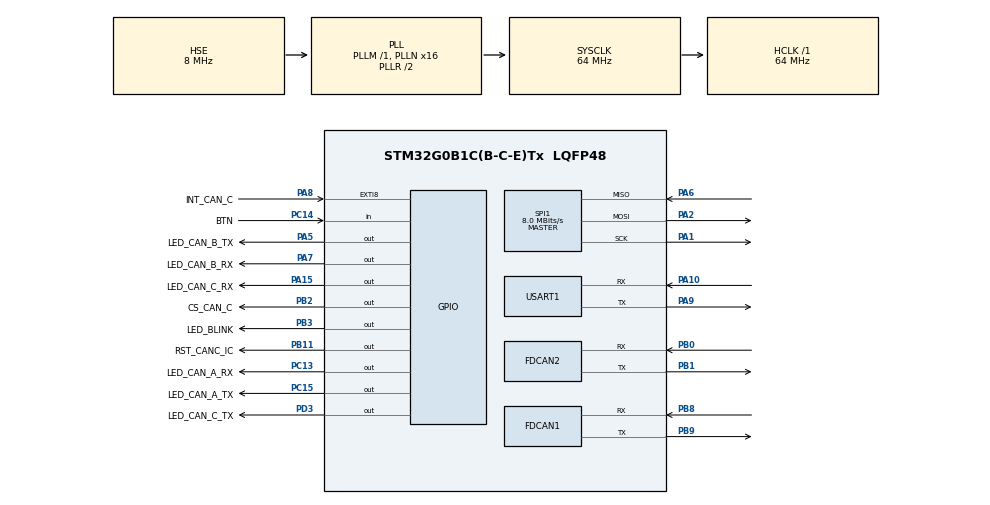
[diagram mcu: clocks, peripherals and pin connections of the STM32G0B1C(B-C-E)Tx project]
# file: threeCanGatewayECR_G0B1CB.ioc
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FDCAN1.CalculateBaudRateNominal=500000
FDCAN1.CalculateTimeBitNominal=2000
FDCAN1.CalculateTimeQuantumNominal=62.5
FDCAN1.ClockDivider=FDCAN_CLOCK_DIV1
FDCAN1.DataSyncJumpWidth=4
FDCAN1.DataTimeSeg1=27
FDCAN1.DataTimeSeg2=4
FDCAN1.NominalPrescaler=1
FDCAN1.NominalSyncJumpWidth=4
FDCAN1.NominalTimeSeg1=27
FDCAN1.NominalTimeSeg2=4
FDCAN2.CalculateBaudRateNominal=500000
FDCAN2.CalculateTimeBitNominal=2000
FDCAN2.CalculateTimeQuantumNominal=62.5
FDCAN2.DataPrescaler=1
FDCAN2.DataSyncJumpWidth=4
FDCAN2.DataTimeSeg1=27
FDCAN2.DataTimeSeg2=2
FDCAN2.NominalPrescaler=1
FDCAN2.NominalSyncJumpWidth=4
FDCAN2.NominalTimeSeg1=27
FDCAN2.NominalTimeSeg2=4
Mcu.Family=STM32G0
Mcu.Name=STM32G0B1C(B-C-E)Tx
Mcu.Package=LQFP48
NVIC.EXTI4_15_IRQn=true\:0\:0\:false\:false\:true\:true\:true\:true
NVIC.TIM16_FDCAN_IT0_IRQn=true\:0\:0\:false\:false\:true\:true\:true\:true
NVIC.TIM17_FDCAN_IT1_IRQn=true\:0\:0\:false\:false\:true\:true\:true\:true
PA1.Mode=Full_Duplex_Master
PA1.Signal=SPI1_SCK
PA10.Mode=Asynchronous
PA10.Signal=USART1_RX
PA13.Mode=Serial_Wire
PA13.Signal=SYS_SWDIO
PA14-BOOT0.Mode=Serial_Wire
PA14-BOOT0.Signal=SYS_SWCLK
PA15.GPIO_Label=LED_CAN_C_RX
PA15.PinState=GPIO_PIN_SET
PA15.Signal=GPIO_Output
PA2.Mode=Full_Duplex_Master
PA2.Signal=SPI1_MOSI
PA5.GPIO_Label=LED_CAN_B_TX
PA5.PinState=GPIO_PIN_SET
PA5.Signal=GPIO_Output
PA6.Mode=Full_Duplex_Master
PA6.Signal=SPI1_MISO
PA7.GPIO_Label=LED_CAN_B_RX
PA7.PinState=GPIO_PIN_SET
PA7.Signal=GPIO_Output
PA8.GPIO_Label=INT_CAN_C
PA8.GPIO_ModeDefaultEXTI=GPIO_MODE_IT_FALLING
PA8.Signal=GPXTI8
PA9.Mode=Asynchronous
PA9.Signal=USART1_TX
PB0.Mode=FDCAN_Activate
PB0.Signal=FDCAN2_RX
PB1.Mode=FDCAN_Activate
PB1.Signal=FDCAN2_TX
PB11.GPIO_Label=RST_CANC_IC
PB11.PinState=GPIO_PIN_SET
PB11.Signal=GPIO_Output
PB2.GPIO_Label=CS_CAN_C
PB2.PinState=GPIO_PIN_SET
PB2.Signal=GPIO_Output
PB3.GPIO_Label=LED_BLINK
PB3.PinState=GPIO_PIN_SET
PB3.Signal=GPIO_Output
PB8.Mode=FDCAN_Activate
PB8.Signal=FDCAN1_RX
PB9.Mode=FDCAN_Activate
PB9.Signal=FDCAN1_TX
PC13.GPIO_Label=LED_CAN_A_RX
PC13.PinState=GPIO_PIN_SET
PC13.Signal=GPIO_Output
PC14-OSC32_IN\ (PC14).GPIO_Label=BTN
PC14-OSC32_IN\ (PC14).Signal=GPIO_Input
PC15-OSC32_OUT\ (PC15).GPIO_Label=LED_CAN_A_TX
PC15-OSC32_OUT\ (PC15).PinState=GPIO_PIN_SET
PC15-OSC32_OUT\ (PC15).Signal=GPIO_Output
PD3.GPIO_Label=LED_CAN_C_TX
PD3.PinState=GPIO_PIN_SET
PD3.Signal=GPIO_Output
PF0-OSC_IN\ (PF0).Mode=HSE-External-Oscillator
PF0-OSC_IN\ (PF0).Signal=RCC_OSC_IN
PF1-OSC_OUT\ (PF1).Mode=HSE-External-Oscillator
PF1-OSC_OUT\ (PF1).Signal=RCC_OSC_OUT
ProjectManager.HeapSize=0x200
ProjectManager.StackSize=0x400
ProjectManager.TargetToolchain=STM32CubeIDE
RCC.ADCFreq_Value=64000000
RCC.AHBFreq_Value=64000000
RCC.CortexFreq_Value=64000000
RCC.EXTERNAL_CLOCK_VALUE=48000
RCC.FDCANCLockSelection=RCC_FDCANCLKSOURCE_PLL
RCC.HCLKFreq_Value=64000000
RCC.HSE_VALUE=8000000
RCC.HSI48_VALUE=48000000
RCC.HSI_VALUE=16000000
RCC.LSE_VALUE=32768
RCC.PLLN=16
RCC.PLLQ=RCC_PLLQ_DIV8
RCC.PLLSourceVirtual=RCC_PLLSOURCE_HSE
RCC.SYSCLKFreq_VALUE=64000000
RCC.SYSCLKSource=RCC_SYSCLKSOURCE_PLLCLK
RCC.USBFreq_Value=48000000
RCC.VCOOutputFreq_Value=128000000
SPI1.BaudRatePrescaler=SPI_BAUDRATEPRESCALER_8
SPI1.CalculateBaudRate=8.0 MBits/s
SPI1.Direction=SPI_DIRECTION_2LINES
SPI1.Mode=SPI_MODE_MASTER
SPI1.VirtualType=VM_MASTER
USART1.VirtualMode-Asynchronous=VM_ASYNC
board=custom

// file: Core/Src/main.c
/* USER CODE BEGIN Header */
/**
  ******************************************************************************
  * @file           : main.c
  * @brief          : Main program body
  ******************************************************************************
  * @attention
  *
  * Copyright (c) 2023 STMicroelectronics.
  * All rights reserved.
  *
  * This software is licensed under terms that can be found in the LICENSE file
  * in the root directory of this software component.
  * If no LICENSE file comes with this software, it is provided AS-IS.
  *
  ******************************************************************************
  */
/* USER CODE END Header */
#include "main.h"

/* USER CODE BEGIN Includes */
#include "debug.h"
#include "torkTypes.h"
#include "basicApp.h"
#include "mcp2515_hardware.h"
#include "mcp2515_drv.h"
#include "string.h"
#include "stdbool.h"
#include "canMsgRingBuf.h"
/* USER CODE END Includes */

FDCAN_HandleTypeDef hfdcan1;
FDCAN_HandleTypeDef hfdcan2;

SPI_HandleTypeDef hspi1;

UART_HandleTypeDef huart1;

/* USER CODE BEGIN PV */
/*****************************************************************************************************************************************/
// for led blink
uint32_t period_of_led_blink = _1_SECOND;
uint32_t last_time = 0;
/*****************************************************************************************************************************************/

/*****************************************************************************************************************************************/
// for CanA comm
FDCAN_TxHeaderTypeDef txHeader_A;  //CAN Bus Receive Header
FDCAN_RxHeaderTypeDef rxHeader_A;  //CAN Bus Receive Header
uint8_t bufRx_A[8] ={ 0, 0, 0, 0, 0, 0, 0, 0 };  //CAN Bus Receive Buffer

// for CanB comm
FDCAN_TxHeaderTypeDef txHeader_B;  //CAN Bus Receive Header
FDCAN_RxHeaderTypeDef rxHeader_B;  //CAN Bus Receive Header
uint8_t bufRx_B[8] ={ 0, 0, 0, 0, 0, 0, 0, 0 };  //CAN Bus Receive Buffer
/*****************************************************************************************************************************************/

/***************************************************************************************************/
torkCanMsg tempCanMsg_A;    //canA Rx den alınan mesajları Ringbuffera atmak icin kullanılır
torkCanMsg tempCanMsg_B;    //canB Rx den alınan mesajları Ringbuffera atmak icin kullanılır
torkCanMsg tempCanMsg_C;    //canC Rx den alınan mesajları Ringbuffera atmak icin kullanılır

torkCanMsg tempCanMsgTx;

uint8_t result     = 0;    //canC rx de
uint8_t result_One = 0;    //route1 poplamada kullanıldı
uint8_t result_Two = 0;    //route2 poplamada kullanıldı
/***************************************************************************************************/

/***************************************************************************************************/
// for CanC comm
volatile uint8_t isCAN_C_RXed = 0;
extern CanbusConfig_t cfgCanC;   //spi2
/***************************************************************************************************/

/***************************************************************************************************/
extern Can_Route_Values_t routeOne;
extern Can_Route_Values_t routeTwo;
/***************************************************************************************************/

/***************************************************************************************************/
// for debug
char failMsg[] = "CAN_FAIL\n"; //
char okMsg[]   = "CAN_OK\n";
/***************************************************************************************************/

/* USER CODE END PV */

void SystemClock_Config(void);
static void MX_GPIO_Init(void);
static void MX_USART1_UART_Init(void);
static void MX_SPI1_Init(void);
static void MX_FDCAN1_Init(void);
static void MX_FDCAN2_Init(void);
/* USER CODE BEGIN PFP */
void heartBeat();
void isPressedBtn();
/* USER CODE END PFP */

int main(void)
{

  /* MCU Configuration--------------------------------------------------------*/

  /* Reset of all peripherals, Initializes the Flash interface and the Systick. */
  HAL_Init();

  /* Configure the system clock */
  SystemClock_Config();

  /* Initialize all configured peripherals */
  MX_GPIO_Init();
  MX_USART1_UART_Init();
  MX_SPI1_Init();
  MX_FDCAN1_Init();
  MX_FDCAN2_Init();
  /* USER CODE BEGIN 2 */

  Init_Basic_App();

  tempCanMsg_B.FrameType           = FDCAN_DATA_FRAME;
  /* USER CODE END 2 */

  /* Infinite loop */
  /* USER CODE BEGIN WHILE */
  while (1)
  {
	  /*
	   *
	   * routeOne :  canA ------|------> canB
	   * 			 canC ------|
	   *
	   * canA ve canC'ye veri geldiginde route1'e koy    (stage1)
	   * route1 de veri varsa canB'den gönder            (stage2)
	   */

	  /*
	   *
	   * routeTwo :  canB -------|------> canA
	   * 						 |------> canC
	   *
	   * canB veri geldiginde route2'e koy               (stage1)
	   * route2 de veri varsa canA ve can C'den gönder   (stage2)
	   */

		/*****************************************************************************************************************************************/
		/*                                                       STAGE 1 IRQ KONTROLU BASLA                                                      */
		/*****************************************************************************************************************************************/

		/**********************************************************************************/
		/*CAN A ve CAN C PORTUNA VERI GELDI MI         "CALLBACK ICERISINDE"              */
		/**********************************************************************************/

		/**********************************************************************************/
		/*CAN C PORTUNA VERI GELDI MI                                                     */
		/**********************************************************************************/
		if (isCAN_C_RXed == 1)
		{
			isCAN_C_RXed = 0;
			HAL_GPIO_WritePin(LED_CAN_C_RX_GPIO_Port , LED_CAN_C_RX_Pin, GPIO_PIN_SET);

			while (CAN_MSGAVAIL == checkReceive(&cfgCanC))
			{
				uint8_t length;
				result = readMsgBuf(&cfgCanC, &length, tempCanMsg_C.Payload);
				if (result == CAN_OK)
				{
					tempCanMsg_C.DataLength    = Convert_Can_Length_For_StmLib(length);
					tempCanMsg_C.Identifier    = cfgCanC.can_id;
					cfgCanC.rtr    ?  (tempCanMsg_C.FrameType = FDCAN_REMOTE_FRAME) : (tempCanMsg_C.FrameType = FDCAN_DATA_FRAME);
					cfgCanC.ext_flg ? (tempCanMsg_C.IdType = FDCAN_EXTENDED_ID)     : (tempCanMsg_C.IdType = FDCAN_STANDARD_ID);

					debugPrint("RX, ->canC  ->route1\n");
					canMsgRingBufferPush(&routeOne.Route_Ring_Buf, tempCanMsg_C);

				}
				else
				{
					debugPrintf(failMsg);
				}
			}
		}
		/*****************************************************************************************************************************************/
		/*                                                       STAGE 1 IRQ KONTROLU  SON                                                       */
		/*****************************************************************************************************************************************/

		/*****************************************************************************************************************************************/
		/*                                                       STAGE 2 DATA ISLEM    BASLA                                                     */
		/*****************************************************************************************************************************************/

		result_One = canMsgRingBufferPop(&routeOne.Route_Ring_Buf, &tempCanMsgTx);

		while (result_One == CAN_OK)
		{
			_Bool compResult = Compare_Is_Incoming_Message_Different_From_Previous_Message(tempCanMsgTx, routeOne.Last_Sent_Message);
			routeOne.Last_Sent_Message = tempCanMsgTx;

//			_Bool compResult = Compare_Is_Incoming_Message_Different_From_Previous_Two_Message(canMsgTx, routeOne.Penultimate_Sent_Message, routeOne.Last_Sent_Message);
//			routeOne.Penultimate_Sent_Message = routeOne.Last_Sent_Message;
//			routeOne.Last_Sent_Message = canMsgTx;

			if (compResult)
			{
				debugPrint("TX, route1-> canB->\n");

				txHeader_B.TxFrameType  = tempCanMsgTx.FrameType;
				txHeader_B.DataLength   = tempCanMsgTx.DataLength;

				if(tempCanMsgTx.IdType == FDCAN_STANDARD_ID)
				{
					txHeader_B.IdType     = FDCAN_EXTENDED_ID;
					txHeader_B.Identifier = ((tempCanMsgTx.Identifier << 18) + tempCanMsgTx.Payload[0]);          // Shift the 11-bit identifier to the left by 18 bits to make it a 29-bit identifier
				}
				else
				{
					txHeader_B.IdType     = FDCAN_EXTENDED_ID;
					txHeader_B.Identifier = tempCanMsgTx.Identifier;
				}

				HAL_FDCAN_AddMessageToTxFifoQ(&hfdcan2, &txHeader_B, tempCanMsgTx.Payload);  //canB den gönder

			}

			result_One = canMsgRingBufferPop(&routeOne.Route_Ring_Buf, &tempCanMsgTx);
			//ledler
//			HAL_GPIO_WritePin(LED_CAN_B_TX_GPIO_Port, LED_CAN_B_TX_Pin, GPIO_PIN_SET);//... tx leder? nasıl söncek?
			HAL_GPIO_WritePin(LED_CAN_A_RX_GPIO_Port, LED_CAN_A_RX_Pin, GPIO_PIN_SET);
			HAL_GPIO_WritePin(LED_CAN_C_RX_GPIO_Port, LED_CAN_C_RX_Pin, GPIO_PIN_SET);
		}

		/*****************************************************************************************************************************************/
				/*ROUTE 2 RINGBUFF VE PORT YONLENDIRME*/
		/*****************************************************************************************************************************************/
				result_Two = canMsgRingBufferPop(&routeTwo.Route_Ring_Buf, &tempCanMsgTx);

				while (result_Two == CAN_OK)
				{
					debugPrint("TX, route2-> canA & canC->\n");

						//CanA icin
					if(tempCanMsgTx.IdType == FDCAN_EXTENDED_ID)
					{
						txHeader_A.IdType = FDCAN_STANDARD_ID;
						txHeader_A.Identifier = tempCanMsgTx.Identifier >> 18;  //? başka bir şey
					}
					else
					{
						txHeader_A.IdType = FDCAN_STANDARD_ID;
						txHeader_A.Identifier  = tempCanMsgTx.Identifier;
					}

					//txHeader_A.TxFrameType = tempCanMsgTx.FrameType;    //gerek yok canA init de atandı zaten, mainScp remote frame de sapıttığı icin hep data frame gönderilir
					txHeader_A.DataLength  = tempCanMsgTx.DataLength;

					HAL_FDCAN_AddMessageToTxFifoQ(&hfdcan1, &txHeader_A, tempCanMsgTx.Payload);  //canB den gönder

						//Canc icin
					if(tempCanMsgTx.IdType == FDCAN_EXTENDED_ID)
					{
						tempCanMsgTx.IdType = 0;
						tempCanMsgTx.Identifier = tempCanMsgTx.Identifier >> 18;  //? başka bir şey
					}
					else
					{
						tempCanMsgTx.IdType = 0;
					}

					//tempCanMsgTx.FrameType   = 0;   //gerek yok canB rx callback de atandı zaten, mainScp remote frame de sapıttığı icin hep data frame gönderilir

					sendMsgBuffer(&cfgCanC, tempCanMsgTx.Identifier, (uint8_t)tempCanMsgTx.IdType, (uint8_t)tempCanMsgTx.FrameType, Convert_Can_Length_For_McpLib(tempCanMsgTx.DataLength), tempCanMsgTx.Payload);

				   // memset(tempCanMsgTx.Payload, 0, MAX_CAN_MSG_DATA_COUNT);  //payload sıfırla
					result_Two = canMsgRingBufferPop(&routeTwo.Route_Ring_Buf, &tempCanMsgTx);

					HAL_GPIO_WritePin(LED_CAN_B_RX_GPIO_Port, LED_CAN_B_RX_Pin, GPIO_PIN_RESET);
					HAL_GPIO_WritePin(LED_CAN_A_TX_GPIO_Port, LED_CAN_A_TX_Pin, GPIO_PIN_SET);   //... söndürmeyi düşün
					HAL_GPIO_WritePin(LED_CAN_A_TX_GPIO_Port, LED_CAN_A_TX_Pin, GPIO_PIN_SET);  //...
				}

		/*****************************************************************************************************************************************/
		/*                                                       STAGE 2 DATA ISLEM    SON                                                       */
		/*****************************************************************************************************************************************/
    /* USER CODE END WHILE */

    /* USER CODE BEGIN 3 */
	  /*****************************************************************************************************************************************/
		  	  	  	  	  	  	  	  	  	  	  /*BUTON CHECK VE BLINK*/
	  /*****************************************************************************************************************************************/

		  isPressedBtn();
		  heartBeat();

	  /*****************************************************************************************************************************************/
	  /*****************************************************************************************************************************************/
  }
  /* USER CODE END 3 */
}

void SystemClock_Config(void)
{
  RCC_OscInitTypeDef RCC_OscInitStruct = {0};
  RCC_ClkInitTypeDef RCC_ClkInitStruct = {0};

  /** Configure the main internal regulator output voltage
  */
  HAL_PWREx_ControlVoltageScaling(PWR_REGULATOR_VOLTAGE_SCALE1);

  /** Initializes the RCC Oscillators according to the specified parameters
  * in the RCC_OscInitTypeDef structure.
  */
  RCC_OscInitStruct.OscillatorType = RCC_OSCILLATORTYPE_HSE;
  RCC_OscInitStruct.HSEState = RCC_HSE_ON;
  RCC_OscInitStruct.PLL.PLLState = RCC_PLL_ON;
  RCC_OscInitStruct.PLL.PLLSource = RCC_PLLSOURCE_HSE;
  RCC_OscInitStruct.PLL.PLLM = RCC_PLLM_DIV1;
  RCC_OscInitStruct.PLL.PLLN = 16;
  RCC_OscInitStruct.PLL.PLLP = RCC_PLLP_DIV2;
  RCC_OscInitStruct.PLL.PLLQ = RCC_PLLQ_DIV8;
  RCC_OscInitStruct.PLL.PLLR = RCC_PLLR_DIV2;
  if (HAL_RCC_OscConfig(&RCC_OscInitStruct) != HAL_OK)
  {
    Error_Handler();
  }

  /** Initializes the CPU, AHB and APB buses clocks
  */
  RCC_ClkInitStruct.ClockType = RCC_CLOCKTYPE_HCLK|RCC_CLOCKTYPE_SYSCLK
                              |RCC_CLOCKTYPE_PCLK1;
  RCC_ClkInitStruct.SYSCLKSource = RCC_SYSCLKSOURCE_PLLCLK;
  RCC_ClkInitStruct.AHBCLKDivider = RCC_SYSCLK_DIV1;
  RCC_ClkInitStruct.APB1CLKDivider = RCC_HCLK_DIV1;

  if (HAL_RCC_ClockConfig(&RCC_ClkInitStruct, FLASH_LATENCY_2) != HAL_OK)
  {
    Error_Handler();
  }
}

static void MX_FDCAN1_Init(void)
{

  hfdcan1.Instance = FDCAN1;
  hfdcan1.Init.ClockDivider = FDCAN_CLOCK_DIV1;
  hfdcan1.Init.FrameFormat = FDCAN_FRAME_CLASSIC;
  hfdcan1.Init.Mode = FDCAN_MODE_NORMAL;
  hfdcan1.Init.AutoRetransmission = DISABLE;
  hfdcan1.Init.TransmitPause = DISABLE;
  hfdcan1.Init.ProtocolException = DISABLE;
  hfdcan1.Init.NominalPrescaler = 1;
  hfdcan1.Init.NominalSyncJumpWidth = 4;
  hfdcan1.Init.NominalTimeSeg1 = 27;
  hfdcan1.Init.NominalTimeSeg2 = 4;
  hfdcan1.Init.DataPrescaler = 1;
  hfdcan1.Init.DataSyncJumpWidth = 4;
  hfdcan1.Init.DataTimeSeg1 = 27;
  hfdcan1.Init.DataTimeSeg2 = 4;
  hfdcan1.Init.StdFiltersNbr = 0;
  hfdcan1.Init.ExtFiltersNbr = 0;
  hfdcan1.Init.TxFifoQueueMode = FDCAN_TX_FIFO_OPERATION;
  if (HAL_FDCAN_Init(&hfdcan1) != HAL_OK)
  {
    Error_Handler();
  }

}

static void MX_FDCAN2_Init(void)
{

  hfdcan2.Instance = FDCAN2;
  hfdcan2.Init.ClockDivider = FDCAN_CLOCK_DIV1;
  hfdcan2.Init.FrameFormat = FDCAN_FRAME_CLASSIC;
  hfdcan2.Init.Mode = FDCAN_MODE_NORMAL;
  hfdcan2.Init.AutoRetransmission = DISABLE;
  hfdcan2.Init.TransmitPause = DISABLE;
  hfdcan2.Init.ProtocolException = DISABLE;
  hfdcan2.Init.NominalPrescaler = 1;
  hfdcan2.Init.NominalSyncJumpWidth = 4;
  hfdcan2.Init.NominalTimeSeg1 = 27;
  hfdcan2.Init.NominalTimeSeg2 = 4;
  hfdcan2.Init.DataPrescaler = 1;
  hfdcan2.Init.DataSyncJumpWidth = 4;
  hfdcan2.Init.DataTimeSeg1 = 27;
  hfdcan2.Init.DataTimeSeg2 = 2;
  hfdcan2.Init.StdFiltersNbr = 0;
  hfdcan2.Init.ExtFiltersNbr = 0;
  hfdcan2.Init.TxFifoQueueMode = FDCAN_TX_FIFO_OPERATION;
  if (HAL_FDCAN_Init(&hfdcan2) != HAL_OK)
  {
    Error_Handler();
  }

}

static void MX_SPI1_Init(void)
{

  /* SPI1 parameter configuration*/
  hspi1.Instance = SPI1;
  hspi1.Init.Mode = SPI_MODE_MASTER;
  hspi1.Init.Direction = SPI_DIRECTION_2LINES;
  hspi1.Init.DataSize = SPI_DATASIZE_8BIT;
  hspi1.Init.CLKPolarity = SPI_POLARITY_LOW;
  hspi1.Init.CLKPhase = SPI_PHASE_1EDGE;
  hspi1.Init.NSS = SPI_NSS_SOFT;
  hspi1.Init.BaudRatePrescaler = SPI_BAUDRATEPRESCALER_8;
  hspi1.Init.FirstBit = SPI_FIRSTBIT_MSB;
  hspi1.Init.TIMode = SPI_TIMODE_DISABLE;
  hspi1.Init.CRCCalculation = SPI_CRCCALCULATION_DISABLE;
  hspi1.Init.CRCPolynomial = 7;
  hspi1.Init.CRCLength = SPI_CRC_LENGTH_DATASIZE;
  hspi1.Init.NSSPMode = SPI_NSS_PULSE_ENABLE;
  if (HAL_SPI_Init(&hspi1) != HAL_OK)
  {
    Error_Handler();
  }

}

static void MX_USART1_UART_Init(void)
{

  huart1.Instance = USART1;
  huart1.Init.BaudRate = 115200;
  huart1.Init.WordLength = UART_WORDLENGTH_8B;
  huart1.Init.StopBits = UART_STOPBITS_1;
  huart1.Init.Parity = UART_PARITY_NONE;
  huart1.Init.Mode = UART_MODE_TX_RX;
  huart1.Init.HwFlowCtl = UART_HWCONTROL_NONE;
  huart1.Init.OverSampling = UART_OVERSAMPLING_16;
  huart1.Init.OneBitSampling = UART_ONE_BIT_SAMPLE_DISABLE;
  huart1.Init.ClockPrescaler = UART_PRESCALER_DIV1;
  huart1.AdvancedInit.AdvFeatureInit = UART_ADVFEATURE_NO_INIT;
  if (HAL_UART_Init(&huart1) != HAL_OK)
  {
    Error_Handler();
  }
  if (HAL_UARTEx_SetTxFifoThreshold(&huart1, UART_TXFIFO_THRESHOLD_1_8) != HAL_OK)
  {
    Error_Handler();
  }
  if (HAL_UARTEx_SetRxFifoThreshold(&huart1, UART_RXFIFO_THRESHOLD_1_8) != HAL_OK)
  {
    Error_Handler();
  }
  if (HAL_UARTEx_DisableFifoMode(&huart1) != HAL_OK)
  {
    Error_Handler();
  }

}

static void MX_GPIO_Init(void)
{
  GPIO_InitTypeDef GPIO_InitStruct = {0};

  /* GPIO Ports Clock Enable */
  __HAL_RCC_GPIOC_CLK_ENABLE();
  __HAL_RCC_GPIOF_CLK_ENABLE();
  __HAL_RCC_GPIOA_CLK_ENABLE();
  __HAL_RCC_GPIOB_CLK_ENABLE();
  __HAL_RCC_GPIOD_CLK_ENABLE();

  /*Configure GPIO pin Output Level */
  HAL_GPIO_WritePin(GPIOC, LED_CAN_A_RX_Pin|LED_CAN_A_TX_Pin, GPIO_PIN_SET);

  /*Configure GPIO pin Output Level */
  HAL_GPIO_WritePin(GPIOA, LED_CAN_B_TX_Pin|LED_CAN_B_RX_Pin|LED_CAN_C_RX_Pin, GPIO_PIN_SET);

  /*Configure GPIO pin Output Level */
  HAL_GPIO_WritePin(GPIOB, CS_CAN_C_Pin|RST_CANC_IC_Pin|LED_BLINK_Pin, GPIO_PIN_SET);

  /*Configure GPIO pin Output Level */
  HAL_GPIO_WritePin(LED_CAN_C_TX_GPIO_Port, LED_CAN_C_TX_Pin, GPIO_PIN_SET);

  /*Configure GPIO pins : LED_CAN_A_RX_Pin LED_CAN_A_TX_Pin */
  GPIO_InitStruct.Pin = LED_CAN_A_RX_Pin|LED_CAN_A_TX_Pin;
  GPIO_InitStruct.Mode = GPIO_MODE_OUTPUT_PP;
  GPIO_InitStruct.Pull = GPIO_NOPULL;
  GPIO_InitStruct.Speed = GPIO_SPEED_FREQ_LOW;
  HAL_GPIO_Init(GPIOC, &GPIO_InitStruct);

  /*Configure GPIO pin : BTN_Pin */
  GPIO_InitStruct.Pin = BTN_Pin;
  GPIO_InitStruct.Mode = GPIO_MODE_INPUT;
  GPIO_InitStruct.Pull = GPIO_NOPULL;
  HAL_GPIO_Init(BTN_GPIO_Port, &GPIO_InitStruct);

  /*Configure GPIO pins : LED_CAN_B_TX_Pin LED_CAN_B_RX_Pin LED_CAN_C_RX_Pin */
  GPIO_InitStruct.Pin = LED_CAN_B_TX_Pin|LED_CAN_B_RX_Pin|LED_CAN_C_RX_Pin;
  GPIO_InitStruct.Mode = GPIO_MODE_OUTPUT_PP;
  GPIO_InitStruct.Pull = GPIO_NOPULL;
  GPIO_InitStruct.Speed = GPIO_SPEED_FREQ_LOW;
  HAL_GPIO_Init(GPIOA, &GPIO_InitStruct);

  /*Configure GPIO pins : CS_CAN_C_Pin RST_CANC_IC_Pin LED_BLINK_Pin */
  GPIO_InitStruct.Pin = CS_CAN_C_Pin|RST_CANC_IC_Pin|LED_BLINK_Pin;
  GPIO_InitStruct.Mode = GPIO_MODE_OUTPUT_PP;
  GPIO_InitStruct.Pull = GPIO_NOPULL;
  GPIO_InitStruct.Speed = GPIO_SPEED_FREQ_LOW;
  HAL_GPIO_Init(GPIOB, &GPIO_InitStruct);

  /*Configure GPIO pin : INT_CAN_C_Pin */
  GPIO_InitStruct.Pin = INT_CAN_C_Pin;
  GPIO_InitStruct.Mode = GPIO_MODE_IT_FALLING;
  GPIO_InitStruct.Pull = GPIO_NOPULL;
  HAL_GPIO_Init(INT_CAN_C_GPIO_Port, &GPIO_InitStruct);

  /*Configure GPIO pin : LED_CAN_C_TX_Pin */
  GPIO_InitStruct.Pin = LED_CAN_C_TX_Pin;
  GPIO_InitStruct.Mode = GPIO_MODE_OUTPUT_PP;
  GPIO_InitStruct.Pull = GPIO_NOPULL;
  GPIO_InitStruct.Speed = GPIO_SPEED_FREQ_LOW;
  HAL_GPIO_Init(LED_CAN_C_TX_GPIO_Port, &GPIO_InitStruct);

  /* EXTI interrupt init*/
  HAL_NVIC_SetPriority(EXTI4_15_IRQn, 0, 0);
  HAL_NVIC_EnableIRQ(EXTI4_15_IRQn);

}

/* USER CODE BEGIN 4 */
/**
 * function   :   heartBeat():  cihazın calisma durumunu gösterir
 * 				  				1 sn  aralıklarla yanması      NORMAL
 * 				  				200ms aralıklarla yanması      ARIZA  //... farklı arıza durumlarında farklı period koy
 * 				  				loop icerisinde cagrılmalıdır. "period_of_led_blink" degiskeni ile frekansı belirlenir.
 * parameters :   void
 * return     :   void
*/
void heartBeat()
{
	if(HAL_GetTick() - last_time > period_of_led_blink)
	{
		last_time = HAL_GetTick();
		HAL_GPIO_TogglePin(LED_BLINK_GPIO_Port, LED_BLINK_Pin);
	}
}

/**
 * function   :  isPressedBtn0(): switch 1 basılmasını algılar
 * 				 Butona basmayı algılaması icin loop icerisinde sürekli cagrılmalıdır!
 *
 * parameters :  void
 *
 * return     :  void
 **/
void isPressedBtn()
{
	static int msCount = 0;

	if(!HAL_GPIO_ReadPin(BTN_GPIO_Port, BTN_Pin))
	{
		msCount++;
		if(msCount > 1e3)
		{

			//***********************************
			// do something
			//***********************************
			debugPrint("btn\n");

			uint8_t dataBUFFFER[8] = {1, 2, 3, 4, 5, 6, 7, 8};

			HAL_FDCAN_AddMessageToTxFifoQ(&hfdcan2, &txHeader_B, dataBUFFFER);  //canB den gönder

			//***********************************

			msCount = -3e6;

		}
	}
	else
	{
		msCount = 0;
	}
}

/**
 * CAN_A 'a gelen mesajlarda hfdcan1'ın FIFO0'ına konur  line0 kesmesi devreye girer
 */
void HAL_FDCAN_RxFifo0Callback(FDCAN_HandleTypeDef *hfdcan, uint32_t RxFifo0ITs)
{
	if ((RxFifo0ITs & FDCAN_IT_RX_FIFO0_NEW_MESSAGE) != RESET)
	{
		if (HAL_FDCAN_GetRxMessage(hfdcan, FDCAN_RX_FIFO0, &rxHeader_A, tempCanMsg_A.Payload) == HAL_OK)
		{
			//dbgPrint("canA new RxFifo0 :"); dbgDumpHex( tempCanMsg_A.Payload, 8); dbgPrint("\n");
			//dbgPrintf("RxHeader.Identifier: %x\n", rxHeader_A.Identifier);

			HAL_GPIO_WritePin(LED_CAN_A_RX_GPIO_Port, LED_CAN_A_RX_Pin, GPIO_PIN_SET);

			tempCanMsg_A.Identifier          = rxHeader_A.Identifier;
			tempCanMsg_A.IdType              = rxHeader_A.IdType;           // mainscp'den hep std ide gelir
			tempCanMsg_A.FrameType           = rxHeader_A.RxFrameType;      // mainscp'den hep data frame gelir
			tempCanMsg_A.DataLength          = rxHeader_A.DataLength;

			canMsgRingBufferPush(&routeOne.Route_Ring_Buf, tempCanMsg_A);

			debugPrint("RX, ->canA  ->route1\n");
		}
		//dbgPrint("ERROR: Fifo0Callback HAL_FDCAN_GetRxMessage\n");
		//Error_Handler();
	}
}

/**
 *  CAN_B 'a gelen mesajlarda hfdcan2'ın FIFO1'ına konur  line1 kesmesi devreye girer
 */
void HAL_FDCAN_RxFifo1Callback(FDCAN_HandleTypeDef *hfdcan, uint32_t RxFifo1ITs)
{
	if ((RxFifo1ITs & FDCAN_IT_RX_FIFO1_NEW_MESSAGE) != RESET)
	{
		if (HAL_FDCAN_GetRxMessage(hfdcan, FDCAN_RX_FIFO1, &rxHeader_B, tempCanMsg_B.Payload) == HAL_OK)
		{
			//dbgPrint("canB new RxFifo1 :"); dbgDumpHex(tempCanMsg_B.Payload, 8); dbgPrint("\n");
			//dbgPrintf("RxHeader.Identifier: %x\n", rxHeader_B.Identifier);

			HAL_GPIO_WritePin(LED_CAN_B_RX_GPIO_Port, LED_CAN_B_RX_Pin,GPIO_PIN_SET);

			tempCanMsg_B.Identifier          = rxHeader_B.Identifier;
			tempCanMsg_B.IdType              = rxHeader_B.IdType;
			//tempCanMsg_B.FrameType           = FDCAN_DATA_FRAME;   //...   mainScp kartı remote frame aldıgında sapıtıyor, whil(1) den önce ataması yapıldı
			tempCanMsg_B.DataLength          = rxHeader_B.DataLength;

			canMsgRingBufferPush(&routeTwo.Route_Ring_Buf, tempCanMsg_B);

			debugPrint("RX, ->canB  ->route2\n");
		}
		//dbgPrint("ERROR: Fifo0Callback HAL_FDCAN_GetRxMessage\n");
		//Error_Handler();
	}
}

void HAL_GPIO_EXTI_Falling_Callback(uint16_t GPIO_Pin)
{
		isCAN_C_RXed = 1;
}
/* USER CODE END 4 */

void Error_Handler(void)
{
  __disable_irq();
  while (1)
  {
  }
}
